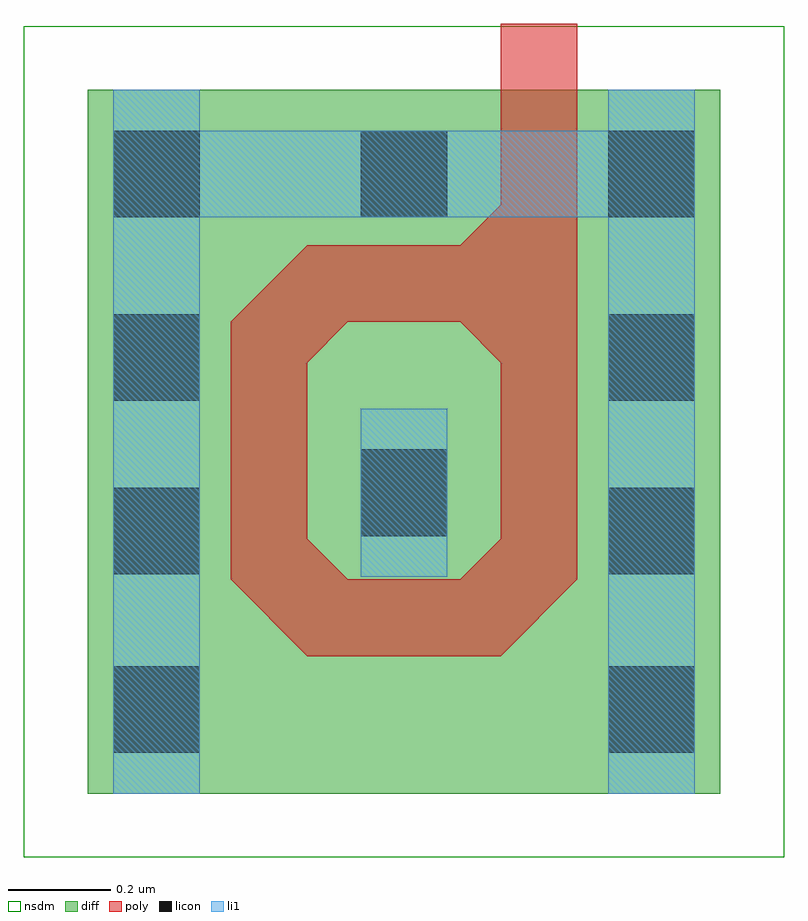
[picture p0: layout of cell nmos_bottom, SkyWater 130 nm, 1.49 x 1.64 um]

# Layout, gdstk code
import gdstk
lib = gdstk.Library(unit=1e-6, precision=1e-09)
def R(c, l, rs):  # rectangles x0, y0, x1, y1
    for r in rs: c.add(gdstk.rectangle(r[:2], r[2:], *l))
def A(c, l, x, y, w, h, nx, ny, dx, dy):  # array of equal rectangles
    R(c, l, [(x+i*dx, y+j*dy, x+i*dx+w, y+j*dy+h) for i in range(nx) for j in range(ny)])
def P(c, l, *ps):  # polygons
    for p in ps: c.add(gdstk.Polygon(p, *l))
diff = (65, 20)
poly = (66, 20)
licon = (66, 44)
li1 = (67, 20)
nsdm = (93, 44)

nmos_bottom = lib.new_cell('nmos_bottom')
R(nmos_bottom, diff, [(0,0,1.24,1.38)])
R(nmos_bottom, poly, [(0.43,0.27,0.81,0.42), (0.28,0.42,0.43,0.925), (0.81,0.42,0.96,0.925), (0.43,0.925,0.96,1.075), (0.81,1.075,0.96,1.51)])
P(nmos_bottom, poly, [(0.73,1.075),(0.81,1.075),(0.81,1.155)],
  [(0.28,0.925),(0.43,0.925),(0.43,1.075)],
  [(0.43,0.845),(0.43,0.925),(0.51,0.925)],
  [(0.73,0.925),(0.81,0.925),(0.81,0.845)],
  [(0.43,0.5),(0.43,0.42),(0.51,0.42)],
  [(0.73,0.42),(0.81,0.42),(0.81,0.5)],
  [(0.28,0.42),(0.43,0.42),(0.43,0.27)],
  [(0.81,0.27),(0.81,0.42),(0.96,0.42)])
A(nmos_bottom, licon, 0.05, 1.13, 0.17, 0.17, 3, 1, 0.485, 0)
R(nmos_bottom, licon, [(0.05,0.08,0.22,0.25), (1.02,0.08,1.19,0.25), (0.05,0.43,0.22,0.6), (1.02,0.43,1.19,0.6), (0.535,0.505,0.705,0.675), (0.05,0.77,0.22,0.94), (1.02,0.77,1.19,0.94)])
R(nmos_bottom, li1, [(0.05,0,0.22,1.13), (1.02,0,1.19,1.13), (0.535,0.425,0.705,0.755), (0.05,1.13,1.19,1.3), (0.05,1.3,0.22,1.38), (1.02,1.3,1.19,1.38)])
R(nmos_bottom, nsdm, [(-0.125,-0.125,1.365,1.505)])

lib.write_gds('nmos_bottom.gds')
